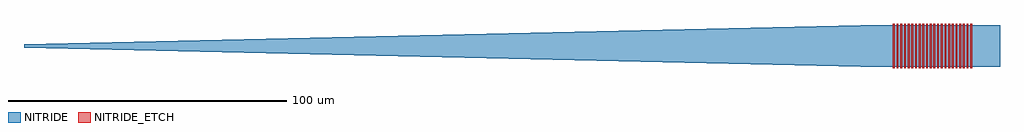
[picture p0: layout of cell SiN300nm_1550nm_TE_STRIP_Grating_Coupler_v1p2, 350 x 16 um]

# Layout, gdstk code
import gdstk
lib = gdstk.Library(unit=1e-6, precision=1e-09)
def R(c, l, rs):  # rectangles x0, y0, x1, y1
    for r in rs: c.add(gdstk.rectangle(r[:2], r[2:], *l))
def A(c, l, x, y, w, h, nx, ny, dx, dy):  # array of equal rectangles
    R(c, l, [(x+i*dx, y+j*dy, x+i*dx+w, y+j*dy+h) for i in range(nx) for j in range(ny)])
def P(c, l, *ps):  # polygons
    for p in ps: c.add(gdstk.Polygon(p, *l))
NITRIDE = (203, 0)
NITRIDE_ETCH = (204, 0)

sin300nm_1550nm_te_strip = lib.new_cell('SiN300nm_1550nm_TE_STRIP_Grating_Coupler_v1p2')
P(sin300nm_1550nm_te_strip, NITRIDE, [(300,-7.5),(0,-0.6),(0,0.6),(300,7.5),(350,7.5),(350,-7.5)])
A(sin300nm_1550nm_te_strip, NITRIDE_ETCH, 311.62, -8, 0.66, 16, 22, 1, 1.32, 0)

lib.write_gds('SiN300nm_1550nm_TE_STRIP_Grating_Coupler_v1p2.gds')
